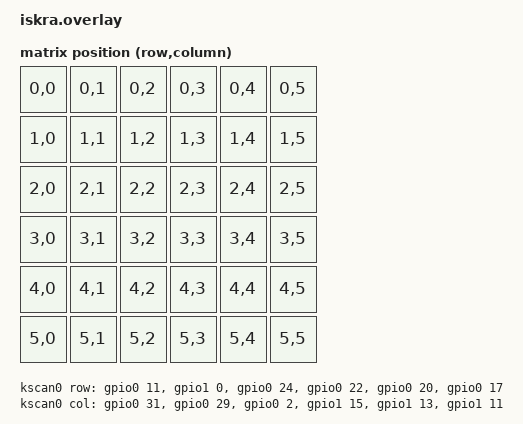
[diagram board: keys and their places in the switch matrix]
/*
 * Iskra shield overlay (nice_nano_v2, Pro Micro footprint)
 */

#include <dt-bindings/zmk/matrix_transform.h>
#include <physical_layouts.dtsi>

/ {
	chosen {
		zmk,kscan = &kscan0;
		zmk,physical-layout = &iskra_layout;
	};

	iskra_transform: iskra_transform {
		compatible = "zmk,matrix-transform";
		columns = <6>;
		rows = <6>;
		map = <

      RC(0,0) RC(0,1) RC(0,2) RC(0,3) RC(0,4) RC(0,5)
      RC(1,0) RC(1,1) RC(1,2) RC(1,3) RC(1,4) RC(1,5)
      RC(2,0) RC(2,1) RC(2,2) RC(2,3) RC(2,4) RC(2,5)
      RC(3,0) RC(3,1) RC(3,2) RC(3,3) RC(3,4) RC(3,5)
      RC(4,0) RC(4,1) RC(4,2) RC(4,3) RC(4,4) RC(4,5)
      RC(5,0) RC(5,1) RC(5,2) RC(5,3) RC(5,4) RC(5,5)
		>;
	};

	iskra_layout: iskra_layout {
		compatible = "zmk,physical-layout";
		display-name = "Default Layout";
		transform = <&iskra_transform>;
		kscan = <&kscan0>;
     keys  //                     w   h    x    y     rot    rx    ry
         = <&key_physical_attrs 100 100    0    0       0     0     0>
         , <&key_physical_attrs 100 100  100    0       0     0     0>
         , <&key_physical_attrs 100 100  200    0       0     0     0>
         , <&key_physical_attrs 100 100  300    0       0     0     0>
         , <&key_physical_attrs 100 100  400    0       0     0     0>
         , <&key_physical_attrs 100 100  500    0       0     0     0>
         , <&key_physical_attrs 100 100    0  100       0     0     0>
         , <&key_physical_attrs 100 100  100  100       0     0     0>
         , <&key_physical_attrs 100 100  200  100       0     0     0>
         , <&key_physical_attrs 100 100  300  100       0     0     0>
         , <&key_physical_attrs 100 100  400  100       0     0     0>
         , <&key_physical_attrs 100 100  500  100       0     0     0>
         , <&key_physical_attrs 100 100    0  200       0     0     0>
         , <&key_physical_attrs 100 100  100  200       0     0     0>
         , <&key_physical_attrs 100 100  200  200       0     0     0>
         , <&key_physical_attrs 100 100  300  200       0     0     0>
         , <&key_physical_attrs 100 100  400  200       0     0     0>
         , <&key_physical_attrs 100 100  500  200       0     0     0>
         , <&key_physical_attrs 100 100    0  300       0     0     0>
         , <&key_physical_attrs 100 100  100  300       0     0     0>
         , <&key_physical_attrs 100 100  200  300       0     0     0>
         , <&key_physical_attrs 100 100  300  300       0     0     0>
         , <&key_physical_attrs 100 100  400  300       0     0     0>
         , <&key_physical_attrs 100 100  500  300       0     0     0>
         , <&key_physical_attrs 100 100    0  400       0     0     0>
         , <&key_physical_attrs 100 100  100  400       0     0     0>
         , <&key_physical_attrs 100 100  200  400       0     0     0>
         , <&key_physical_attrs 100 100  300  400       0     0     0>
         , <&key_physical_attrs 100 100  400  400       0     0     0>
         , <&key_physical_attrs 100 100  500  400       0     0     0>
         , <&key_physical_attrs 100 100    0  500       0     0     0>
         , <&key_physical_attrs 100 100  100  500       0     0     0>
         , <&key_physical_attrs 100 100  200  500       0     0     0>
         , <&key_physical_attrs 100 100  300  500       0     0     0>
         , <&key_physical_attrs 100 100  400  500       0     0     0>
         , <&key_physical_attrs 100 100  500  500       0     0     0>
         ;
    };
};

&pro_micro {
	kscan0: kscan {
		compatible = "zmk,kscan-gpio-matrix";
		label = "KSCAN";
		diode-direction = "col2row";
		debounce-press-ms = <5>;
		debounce-release-ms = <5>;

    row-gpios = <&gpio0 11   (GPIO_ACTIVE_HIGH | GPIO_PULL_DOWN)>,
                <&gpio1 0   (GPIO_ACTIVE_HIGH | GPIO_PULL_DOWN)>,
                <&gpio0 24  (GPIO_ACTIVE_HIGH | GPIO_PULL_DOWN)>,
                <&gpio0 22   (GPIO_ACTIVE_HIGH | GPIO_PULL_DOWN)>,
                <&gpio0 20   (GPIO_ACTIVE_HIGH | GPIO_PULL_DOWN)>,
                <&gpio0 17   (GPIO_ACTIVE_HIGH | GPIO_PULL_DOWN)>;

    col-gpios = <&gpio0 31  GPIO_ACTIVE_HIGH>,
                <&gpio0 29  GPIO_ACTIVE_HIGH>,
                <&gpio0 2  GPIO_ACTIVE_HIGH>,
                <&gpio1 15 GPIO_ACTIVE_HIGH>,
                <&gpio1 13 GPIO_ACTIVE_HIGH>,
                <&gpio1 11 GPIO_ACTIVE_HIGH>;
	};
};
